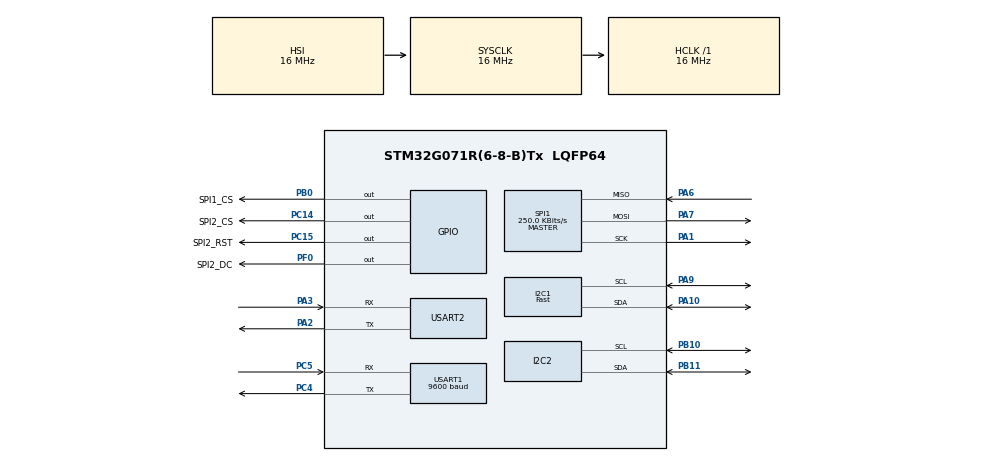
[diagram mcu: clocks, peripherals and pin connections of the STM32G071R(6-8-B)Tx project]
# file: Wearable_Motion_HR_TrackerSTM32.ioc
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I2C1.I2C_Speed_Mode=I2C_Fast
I2C1.Timing=0x00300617
I2C2.Timing=0x00503D58
Mcu.Family=STM32G0
Mcu.Name=STM32G071R(6-8-B)Tx
Mcu.Package=LQFP64
NVIC.TIM2_IRQn=true\:1\:0\:true\:false\:true\:true\:true\:true
NVIC.TIM3_IRQn=true\:3\:0\:true\:false\:true\:true\:true\:true
NVIC.USART1_IRQn=true\:2\:0\:true\:false\:true\:true\:true\:true
PA1.GPIO_PuPd=GPIO_PULLUP
PA1.Mode=Full_Duplex_Master
PA1.Signal=SPI1_SCK
PA10.Mode=I2C
PA10.Signal=I2C1_SDA
PA2.Mode=Asynchronous
PA2.Signal=USART2_TX
PA3.Mode=Asynchronous
PA3.Signal=USART2_RX
PA6.GPIO_PuPd=GPIO_PULLUP
PA6.Mode=Full_Duplex_Master
PA6.Signal=SPI1_MISO
PA7.GPIO_PuPd=GPIO_PULLUP
PA7.Mode=Full_Duplex_Master
PA7.Signal=SPI1_MOSI
PA9.Mode=I2C
PA9.Signal=I2C1_SCL
PB0.GPIO_Label=SPI1_CS
PB0.GPIO_PuPd=GPIO_PULLUP
PB0.PinState=GPIO_PIN_SET
PB0.Signal=GPIO_Output
PB10.Mode=I2C
PB10.Signal=I2C2_SCL
PB11.Mode=I2C
PB11.Signal=I2C2_SDA
PC14-OSC32_IN\ (PC14).GPIO_Label=SPI2_CS
PC14-OSC32_IN\ (PC14).Signal=GPIO_Output
PC15-OSC32_OUT\ (PC15).GPIO_Label=SPI2_RST
PC15-OSC32_OUT\ (PC15).Signal=GPIO_Output
PC4.Mode=Asynchronous
PC4.Signal=USART1_TX
PC5.Mode=Asynchronous
PC5.Signal=USART1_RX
PF0-OSC_IN\ (PF0).GPIO_Label=SPI2_DC
PF0-OSC_IN\ (PF0).Signal=GPIO_Output
ProjectManager.HeapSize=0x200
ProjectManager.StackSize=0x400
ProjectManager.TargetToolchain=STM32CubeIDE
RCC.AHBFreq_Value=16000000
RCC.CortexFreq_Value=16000000
RCC.EXTERNAL_CLOCK_VALUE=12288000
RCC.HCLKFreq_Value=16000000
RCC.HSE_VALUE=8000000
RCC.HSI_VALUE=16000000
RCC.LSE_VALUE=32768
RCC.SYSCLKFreq_VALUE=16000000
RCC.VCOOutputFreq_Value=128000000
SPI1.BaudRatePrescaler=SPI_BAUDRATEPRESCALER_64
SPI1.CalculateBaudRate=250.0 KBits/s
SPI1.DataSize=SPI_DATASIZE_8BIT
SPI1.Direction=SPI_DIRECTION_2LINES
SPI1.Mode=SPI_MODE_MASTER
SPI1.VirtualType=VM_MASTER
TIM2.Channel-Output\ Compare1\ No\ Output=TIM_CHANNEL_1
TIM2.Period=1000-1
TIM2.Prescaler=640-1
TIM3.Channel-Output\ Compare1\ No\ Output=TIM_CHANNEL_1
TIM3.Period=999
TIM3.Prescaler=7999
USART1.BaudRate=9600
USART1.VirtualMode-Asynchronous=VM_ASYNC
USART2.VirtualMode-Asynchronous=VM_ASYNC
VP_FATFS_VS_Generic.Mode=User_defined
VP_TIM2_VS_no_output1.Mode=Output Compare1 No Output
VP_TIM3_VS_no_output1.Mode=Output Compare1 No Output
board=NUCLEO-G071RB

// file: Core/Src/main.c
/* USER CODE BEGIN Header */
/**
  ******************************************************************************
  * @file           : main.c
  * @brief          : Main program body
  ******************************************************************************
  * @attention
  *
  * Copyright (c) 2025 STMicroelectronics.
  * All rights reserved.
  *
  * This software is licensed under terms that can be found in the LICENSE file
  * in the root directory of this software component.
  * If no LICENSE file comes with this software, it is provided AS-IS.
  *
  ******************************************************************************
  */
/* USER CODE END Header */
#include "main.h"
#include "app_fatfs.h"

/* USER CODE BEGIN Includes */
#include "MPU6050_conf.h"
#include "filtering_accel.h"
#include "peak_detection.h"
#include "HR_data.h"
#include "OLED_format.h"
#include "ssd1306.h"
#include "ssd1306_fonts.h"
/* USER CODE END Includes */

I2C_HandleTypeDef hi2c1;
I2C_HandleTypeDef hi2c2;

SPI_HandleTypeDef hspi1;

TIM_HandleTypeDef htim2;
TIM_HandleTypeDef htim3;

UART_HandleTypeDef huart1;
UART_HandleTypeDef huart2;

/* USER CODE BEGIN PV */
char UART[UART_BUFF_SIZE]; // EXTERNAL
MPU6050_Accelerometer Acceleration; // EXTERNAL
uint8_t overwrite_BUFF = 0;
/* USER CODE END PV */

void SystemClock_Config(void);
static void MX_GPIO_Init(void);
static void MX_I2C1_Init(void);
static void MX_USART2_UART_Init(void);
static void MX_TIM2_Init(void);
static void MX_SPI1_Init(void);
static void MX_USART1_UART_Init(void);
static void MX_I2C2_Init(void);
static void MX_TIM3_Init(void);

int main(void)
{

  /* MCU Configuration--------------------------------------------------------*/

  /* Reset of all peripherals, Initializes the Flash interface and the Systick. */
  HAL_Init();

  /* Configure the system clock */
  SystemClock_Config();

  /* Initialize all configured peripherals */
  MX_GPIO_Init();
  MX_I2C1_Init();
  MX_USART2_UART_Init();
  MX_TIM2_Init();
  MX_SPI1_Init();
  if (MX_FATFS_Init() != APP_OK) {
    Error_Handler();
  }
  MX_USART1_UART_Init();
  MX_I2C2_Init();
  MX_TIM3_Init();
  /* USER CODE BEGIN 2 */

  /* Setup MAX30102 */
  MAX30102_collect_TOGGLE();
  /* Setup MPU6050 */
  MPU6050_init();
  /* Set starting conditions */
  conditions_INIT();
  /* Record HR & SPO2 */
  /* Start IT timer */
  HAL_TIM_Base_Start_IT(&htim2);
  HAL_TIM_Base_Start_IT(&htim3);
  /* Set SSD1306 */
  ssd1306_Init();
  START_DISPLAY();
  /* USER CODE END 2 */

  /* Infinite loop */
  /* USER CODE BEGIN WHILE */

  while (1)
  {
	  /* Update display */
	  	display_STEP();
	  	display_HR();

    /* USER CODE END WHILE */

	     }
}

void SystemClock_Config(void)
{
  RCC_OscInitTypeDef RCC_OscInitStruct = {0};
  RCC_ClkInitTypeDef RCC_ClkInitStruct = {0};

  /** Configure the main internal regulator output voltage
  */
  HAL_PWREx_ControlVoltageScaling(PWR_REGULATOR_VOLTAGE_SCALE1);

  /** Initializes the RCC Oscillators according to the specified parameters
  * in the RCC_OscInitTypeDef structure.
  */
  RCC_OscInitStruct.OscillatorType = RCC_OSCILLATORTYPE_HSI;
  RCC_OscInitStruct.HSIState = RCC_HSI_ON;
  RCC_OscInitStruct.HSIDiv = RCC_HSI_DIV1;
  RCC_OscInitStruct.HSICalibrationValue = RCC_HSICALIBRATION_DEFAULT;
  RCC_OscInitStruct.PLL.PLLState = RCC_PLL_NONE;
  if (HAL_RCC_OscConfig(&RCC_OscInitStruct) != HAL_OK)
  {
    Error_Handler();
  }

  /** Initializes the CPU, AHB and APB buses clocks
  */
  RCC_ClkInitStruct.ClockType = RCC_CLOCKTYPE_HCLK|RCC_CLOCKTYPE_SYSCLK
                              |RCC_CLOCKTYPE_PCLK1;
  RCC_ClkInitStruct.SYSCLKSource = RCC_SYSCLKSOURCE_HSI;
  RCC_ClkInitStruct.AHBCLKDivider = RCC_SYSCLK_DIV1;
  RCC_ClkInitStruct.APB1CLKDivider = RCC_HCLK_DIV1;

  if (HAL_RCC_ClockConfig(&RCC_ClkInitStruct, FLASH_LATENCY_0) != HAL_OK)
  {
    Error_Handler();
  }
}

static void MX_I2C1_Init(void)
{

  hi2c1.Instance = I2C1;
  hi2c1.Init.Timing = 0x00300617;
  hi2c1.Init.OwnAddress1 = 0;
  hi2c1.Init.AddressingMode = I2C_ADDRESSINGMODE_7BIT;
  hi2c1.Init.DualAddressMode = I2C_DUALADDRESS_DISABLE;
  hi2c1.Init.OwnAddress2 = 0;
  hi2c1.Init.OwnAddress2Masks = I2C_OA2_NOMASK;
  hi2c1.Init.GeneralCallMode = I2C_GENERALCALL_DISABLE;
  hi2c1.Init.NoStretchMode = I2C_NOSTRETCH_DISABLE;
  if (HAL_I2C_Init(&hi2c1) != HAL_OK)
  {
    Error_Handler();
  }

  /** Configure Analogue filter
  */
  if (HAL_I2CEx_ConfigAnalogFilter(&hi2c1, I2C_ANALOGFILTER_ENABLE) != HAL_OK)
  {
    Error_Handler();
  }

  /** Configure Digital filter
  */
  if (HAL_I2CEx_ConfigDigitalFilter(&hi2c1, 0) != HAL_OK)
  {
    Error_Handler();
  }

}

static void MX_I2C2_Init(void)
{

  hi2c2.Instance = I2C2;
  hi2c2.Init.Timing = 0x00503D58;
  hi2c2.Init.OwnAddress1 = 0;
  hi2c2.Init.AddressingMode = I2C_ADDRESSINGMODE_7BIT;
  hi2c2.Init.DualAddressMode = I2C_DUALADDRESS_DISABLE;
  hi2c2.Init.OwnAddress2 = 0;
  hi2c2.Init.OwnAddress2Masks = I2C_OA2_NOMASK;
  hi2c2.Init.GeneralCallMode = I2C_GENERALCALL_DISABLE;
  hi2c2.Init.NoStretchMode = I2C_NOSTRETCH_DISABLE;
  if (HAL_I2C_Init(&hi2c2) != HAL_OK)
  {
    Error_Handler();
  }

  /** Configure Analogue filter
  */
  if (HAL_I2CEx_ConfigAnalogFilter(&hi2c2, I2C_ANALOGFILTER_ENABLE) != HAL_OK)
  {
    Error_Handler();
  }

  /** Configure Digital filter
  */
  if (HAL_I2CEx_ConfigDigitalFilter(&hi2c2, 0) != HAL_OK)
  {
    Error_Handler();
  }

}

static void MX_SPI1_Init(void)
{

  /* SPI1 parameter configuration*/
  hspi1.Instance = SPI1;
  hspi1.Init.Mode = SPI_MODE_MASTER;
  hspi1.Init.Direction = SPI_DIRECTION_2LINES;
  hspi1.Init.DataSize = SPI_DATASIZE_8BIT;
  hspi1.Init.CLKPolarity = SPI_POLARITY_LOW;
  hspi1.Init.CLKPhase = SPI_PHASE_1EDGE;
  hspi1.Init.NSS = SPI_NSS_SOFT;
  hspi1.Init.BaudRatePrescaler = SPI_BAUDRATEPRESCALER_64;
  hspi1.Init.FirstBit = SPI_FIRSTBIT_MSB;
  hspi1.Init.TIMode = SPI_TIMODE_DISABLE;
  hspi1.Init.CRCCalculation = SPI_CRCCALCULATION_DISABLE;
  hspi1.Init.CRCPolynomial = 7;
  hspi1.Init.CRCLength = SPI_CRC_LENGTH_DATASIZE;
  hspi1.Init.NSSPMode = SPI_NSS_PULSE_ENABLE;
  if (HAL_SPI_Init(&hspi1) != HAL_OK)
  {
    Error_Handler();
  }

}

static void MX_TIM2_Init(void)
{

  TIM_MasterConfigTypeDef sMasterConfig = {0};
  TIM_OC_InitTypeDef sConfigOC = {0};

  htim2.Instance = TIM2;
  htim2.Init.Prescaler = 640-1;
  htim2.Init.CounterMode = TIM_COUNTERMODE_UP;
  htim2.Init.Period = 1000-1;
  htim2.Init.ClockDivision = TIM_CLOCKDIVISION_DIV1;
  htim2.Init.AutoReloadPreload = TIM_AUTORELOAD_PRELOAD_DISABLE;
  if (HAL_TIM_OC_Init(&htim2) != HAL_OK)
  {
    Error_Handler();
  }
  sMasterConfig.MasterOutputTrigger = TIM_TRGO_RESET;
  sMasterConfig.MasterSlaveMode = TIM_MASTERSLAVEMODE_DISABLE;
  if (HAL_TIMEx_MasterConfigSynchronization(&htim2, &sMasterConfig) != HAL_OK)
  {
    Error_Handler();
  }
  sConfigOC.OCMode = TIM_OCMODE_TIMING;
  sConfigOC.Pulse = 0;
  sConfigOC.OCPolarity = TIM_OCPOLARITY_HIGH;
  sConfigOC.OCFastMode = TIM_OCFAST_DISABLE;
  if (HAL_TIM_OC_ConfigChannel(&htim2, &sConfigOC, TIM_CHANNEL_1) != HAL_OK)
  {
    Error_Handler();
  }

}

static void MX_TIM3_Init(void)
{

  TIM_MasterConfigTypeDef sMasterConfig = {0};
  TIM_OC_InitTypeDef sConfigOC = {0};

  htim3.Instance = TIM3;
  htim3.Init.Prescaler = 7999;
  htim3.Init.CounterMode = TIM_COUNTERMODE_UP;
  htim3.Init.Period = 999;
  htim3.Init.ClockDivision = TIM_CLOCKDIVISION_DIV1;
  htim3.Init.AutoReloadPreload = TIM_AUTORELOAD_PRELOAD_DISABLE;
  if (HAL_TIM_OC_Init(&htim3) != HAL_OK)
  {
    Error_Handler();
  }
  sMasterConfig.MasterOutputTrigger = TIM_TRGO_RESET;
  sMasterConfig.MasterSlaveMode = TIM_MASTERSLAVEMODE_DISABLE;
  if (HAL_TIMEx_MasterConfigSynchronization(&htim3, &sMasterConfig) != HAL_OK)
  {
    Error_Handler();
  }
  sConfigOC.OCMode = TIM_OCMODE_TIMING;
  sConfigOC.Pulse = 0;
  sConfigOC.OCPolarity = TIM_OCPOLARITY_HIGH;
  sConfigOC.OCFastMode = TIM_OCFAST_DISABLE;
  if (HAL_TIM_OC_ConfigChannel(&htim3, &sConfigOC, TIM_CHANNEL_1) != HAL_OK)
  {
    Error_Handler();
  }

}

static void MX_USART1_UART_Init(void)
{

  huart1.Instance = USART1;
  huart1.Init.BaudRate = 9600;
  huart1.Init.WordLength = UART_WORDLENGTH_8B;
  huart1.Init.StopBits = UART_STOPBITS_1;
  huart1.Init.Parity = UART_PARITY_NONE;
  huart1.Init.Mode = UART_MODE_TX_RX;
  huart1.Init.HwFlowCtl = UART_HWCONTROL_NONE;
  huart1.Init.OverSampling = UART_OVERSAMPLING_16;
  huart1.Init.OneBitSampling = UART_ONE_BIT_SAMPLE_DISABLE;
  huart1.Init.ClockPrescaler = UART_PRESCALER_DIV1;
  huart1.AdvancedInit.AdvFeatureInit = UART_ADVFEATURE_NO_INIT;
  if (HAL_UART_Init(&huart1) != HAL_OK)
  {
    Error_Handler();
  }
  if (HAL_UARTEx_SetTxFifoThreshold(&huart1, UART_TXFIFO_THRESHOLD_1_8) != HAL_OK)
  {
    Error_Handler();
  }
  if (HAL_UARTEx_SetRxFifoThreshold(&huart1, UART_RXFIFO_THRESHOLD_1_8) != HAL_OK)
  {
    Error_Handler();
  }
  if (HAL_UARTEx_DisableFifoMode(&huart1) != HAL_OK)
  {
    Error_Handler();
  }

}

static void MX_USART2_UART_Init(void)
{

  huart2.Instance = USART2;
  huart2.Init.BaudRate = 115200;
  huart2.Init.WordLength = UART_WORDLENGTH_8B;
  huart2.Init.StopBits = UART_STOPBITS_1;
  huart2.Init.Parity = UART_PARITY_NONE;
  huart2.Init.Mode = UART_MODE_TX_RX;
  huart2.Init.HwFlowCtl = UART_HWCONTROL_NONE;
  huart2.Init.OverSampling = UART_OVERSAMPLING_16;
  huart2.Init.OneBitSampling = UART_ONE_BIT_SAMPLE_DISABLE;
  huart2.Init.ClockPrescaler = UART_PRESCALER_DIV1;
  huart2.AdvancedInit.AdvFeatureInit = UART_ADVFEATURE_NO_INIT;
  if (HAL_UART_Init(&huart2) != HAL_OK)
  {
    Error_Handler();
  }
  if (HAL_UARTEx_SetTxFifoThreshold(&huart2, UART_TXFIFO_THRESHOLD_1_8) != HAL_OK)
  {
    Error_Handler();
  }
  if (HAL_UARTEx_SetRxFifoThreshold(&huart2, UART_RXFIFO_THRESHOLD_1_8) != HAL_OK)
  {
    Error_Handler();
  }
  if (HAL_UARTEx_DisableFifoMode(&huart2) != HAL_OK)
  {
    Error_Handler();
  }

}

static void MX_GPIO_Init(void)
{
  GPIO_InitTypeDef GPIO_InitStruct = {0};

  /* GPIO Ports Clock Enable */
  __HAL_RCC_GPIOC_CLK_ENABLE();
  __HAL_RCC_GPIOF_CLK_ENABLE();
  __HAL_RCC_GPIOA_CLK_ENABLE();
  __HAL_RCC_GPIOB_CLK_ENABLE();

  /*Configure GPIO pin Output Level */
  HAL_GPIO_WritePin(GPIOC, SPI2_CS_Pin|SPI2_RST_Pin, GPIO_PIN_RESET);

  /*Configure GPIO pin Output Level */
  HAL_GPIO_WritePin(SPI2_DC_GPIO_Port, SPI2_DC_Pin, GPIO_PIN_RESET);

  /*Configure GPIO pin Output Level */
  HAL_GPIO_WritePin(SPI1_CS_GPIO_Port, SPI1_CS_Pin, GPIO_PIN_SET);

  /*Configure GPIO pins : SPI2_CS_Pin SPI2_RST_Pin */
  GPIO_InitStruct.Pin = SPI2_CS_Pin|SPI2_RST_Pin;
  GPIO_InitStruct.Mode = GPIO_MODE_OUTPUT_PP;
  GPIO_InitStruct.Pull = GPIO_NOPULL;
  GPIO_InitStruct.Speed = GPIO_SPEED_FREQ_LOW;
  HAL_GPIO_Init(GPIOC, &GPIO_InitStruct);

  /*Configure GPIO pin : SPI2_DC_Pin */
  GPIO_InitStruct.Pin = SPI2_DC_Pin;
  GPIO_InitStruct.Mode = GPIO_MODE_OUTPUT_PP;
  GPIO_InitStruct.Pull = GPIO_NOPULL;
  GPIO_InitStruct.Speed = GPIO_SPEED_FREQ_LOW;
  HAL_GPIO_Init(SPI2_DC_GPIO_Port, &GPIO_InitStruct);

  /*Configure GPIO pin : SPI1_CS_Pin */
  GPIO_InitStruct.Pin = SPI1_CS_Pin;
  GPIO_InitStruct.Mode = GPIO_MODE_OUTPUT_PP;
  GPIO_InitStruct.Pull = GPIO_PULLUP;
  GPIO_InitStruct.Speed = GPIO_SPEED_FREQ_LOW;
  HAL_GPIO_Init(SPI1_CS_GPIO_Port, &GPIO_InitStruct);

}

/* USER CODE BEGIN 4 */

void HAL_UART_RxCpltCallback(UART_HandleTypeDef *huart)
{
  /* Check which UART instance triggered the callback */
  if (huart->Instance == USART1)
  {
	  RX_BUSY = 0;
	  /* Store after reading */
	  HR_BUFF_storage();
	  HR_AVG();
  }
}
/* USER CODE END 4 */

void Error_Handler(void)
{
  __disable_irq();
  while (1)
  {
  }
}
